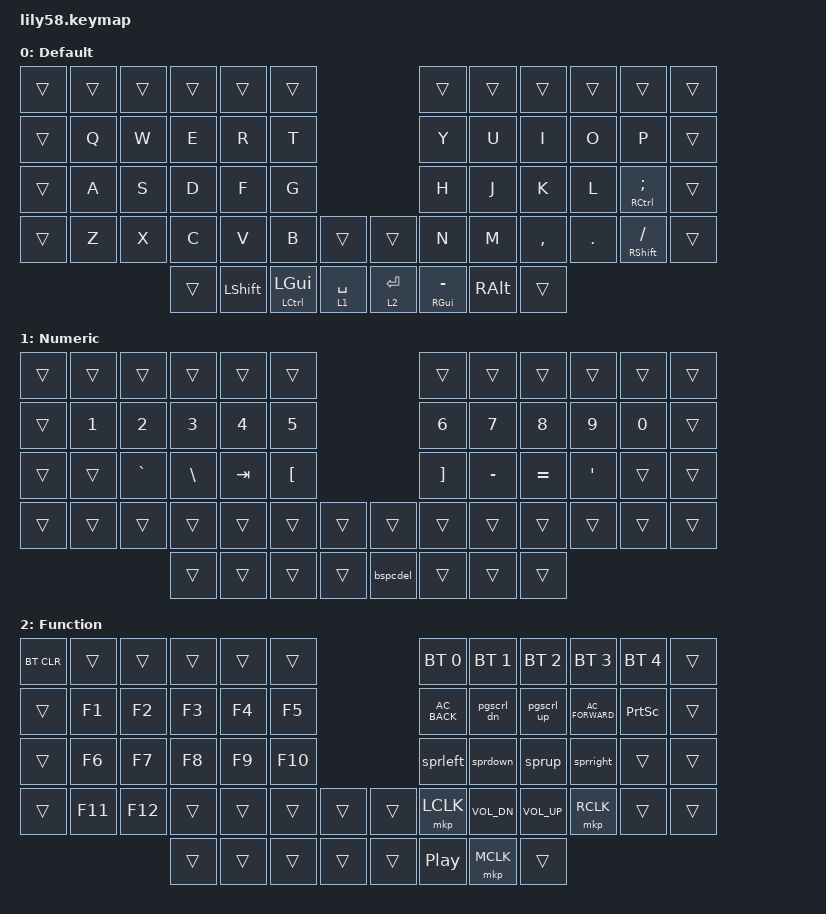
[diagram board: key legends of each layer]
/*
 * Copyright (c) 2020 The ZMK Contributors
 *
 * SPDX-License-Identifier: MIT
 */

#include <dt-bindings/zmk/mouse.h>

#define ZMK_POINTING_DEFAULT_MOVE_VAL 1500  // default: 600
#define ZMK_POINTING_DEFAULT_SCRL_VAL 20    // default: 10

#include <behaviors.dtsi>
#include <dt-bindings/zmk/bt.h>
#include <dt-bindings/zmk/keys.h>
#include <dt-bindings/zmk/pointing.h>

&mmv { time-to-max-speed-ms = <450>; };

&mt {
    flavor = "balanced";
    tapping-term-ms = <125>;
};

/ {
    combos {
        compatible = "zmk,combos";

        MUTE {
            bindings = <&kp C_MUTE>;
            key-positions = <46 45>;
            layers = <2>;
        };

        JK2GRESC {
            bindings = <&gresc>;
            key-positions = <31 32>;
        };

        COMBO_HOME {
            bindings = <&endhome>;
            key-positions = <19 20>;
            layers = <2>;
        };

        BT_SEL_0_ {
            bindings = <&bt BT_SEL 0>;
            key-positions = <13 48>;
            layers = <2>;
        };

        BT_SEL_1_ {
            bindings = <&bt BT_SEL 1>;
            key-positions = <48 14>;
            layers = <2>;
        };

        BT_SEL_2_ {
            bindings = <&bt BT_SEL 2>;
            key-positions = <48 15>;
            layers = <2>;
        };

        BT_SEL_3_ {
            bindings = <&bt BT_SEL 3>;
            key-positions = <48 16>;
            layers = <2>;
        };

        BT_SEL_4_ {
            bindings = <&bt BT_SEL 4>;
            key-positions = <48 17>;
            layers = <2>;
        };

        BT_CLR_ {
            bindings = <&bt BT_CLR>;
            key-positions = <48 31 32>;
            layers = <2>;
        };
    };

    behaviors {
        bspcdel: bspcdel {
            compatible = "zmk,behavior-mod-morph";
            label = "BSPCDEL";
            bindings = <&kp BACKSPACE>, <&kp DELETE>;

            #binding-cells = <0>;
            mods = <(MOD_LSFT|MOD_RSFT)>;
        };

        sprleft: sprleft {
            compatible = "zmk,behavior-mod-morph";
            label = "SPRLEFT";
            bindings = <&kp LEFT>, <&mmv MOVE_LEFT>;

            #binding-cells = <0>;
            mods = <(MOD_RCTL|MOD_LCTL)>;
        };

        sprdown: sprdown {
            compatible = "zmk,behavior-mod-morph";
            label = "SPRDOWN";
            bindings = <&kp DOWN>, <&mmv MOVE_DOWN>;

            #binding-cells = <0>;
            mods = <(MOD_LCTL|MOD_RCTL)>;
        };

        sprup: sprup {
            compatible = "zmk,behavior-mod-morph";
            label = "SPRUP";
            bindings = <&kp UP>, <&mmv MOVE_UP>;

            #binding-cells = <0>;
            mods = <(MOD_LCTL|MOD_RCTL)>;
        };

        sprright: sprright {
            compatible = "zmk,behavior-mod-morph";
            label = "SPRRIGHT";
            bindings = <&kp RIGHT>, <&mmv MOVE_RIGHT>;

            #binding-cells = <0>;
            mods = <(MOD_LCTL|MOD_RCTL)>;
        };

        endhome: endhome {
            compatible = "zmk,behavior-mod-morph";
            label = "ENDHOME";
            bindings = <&kp HOME>, <&kp END>;

            #binding-cells = <0>;
            mods = <(MOD_LSFT|MOD_RSFT)>;
        };

        pgscrl_dn: pgscrl_dn {
            compatible = "zmk,behavior-mod-morph";
            label = "PGSCRL_DN";
            bindings = <&msc SCRL_DOWN>, <&kp PAGE_DOWN>;

            #binding-cells = <0>;
            mods = <(MOD_LSFT|MOD_RSFT)>;
        };

        pgscrl_up: pgscrl_up {
            compatible = "zmk,behavior-mod-morph";
            label = "PGSCRL_UP";
            bindings = <&msc SCRL_UP>, <&kp PAGE_UP>;

            #binding-cells = <0>;
            mods = <(MOD_LSFT|MOD_RSFT)>;
        };
    };

    keymap {
        compatible = "zmk,keymap";

        default {
            // ------------------------------------------------------------------------------------------------------------
            // |  ESC  |  1  |  2  |  3   |  4   |  5   |                   |  6   |  7    |  8    |  9   |   0   |   `   |
            // |  TAB  |  Q  |  W  |  E   |  R   |  T   |                   |  Y   |  U    |  I    |  O   |   P   |   -   |
            // |  CTRL |  A  |  S  |  D   |  F   |  G   |                   |  H   |  J    |  K    |  L   |   ;   |   '   |
            // | SHIFT |  Z  |  X  |  C   |  V   |  B   |   "["  |  |  "]"  |  N   |  M    |  ,    |  .   |   /   | SHIFT |
            //                     | ALT  | GUI  | LOWER|  SPACE |  | ENTER | RAISE| BSPC  | GUI   |

            display-name = "Default";
            bindings = <
&trans  &trans  &trans  &trans  &trans          &trans                                                 &trans               &trans         &trans     &trans   &trans                       &trans
&trans  &kp Q   &kp W   &kp E   &kp R           &kp T                                                  &kp Y                &kp U          &kp I      &kp O    &kp P                        &trans
&trans  &kp A   &kp S   &kp D   &kp F           &kp G                                                  &kp H                &kp J          &kp K      &kp L    &mt RIGHT_CONTROL SEMICOLON  &trans
&trans  &kp Z   &kp X   &kp C   &kp V           &kp B                      &trans         &trans       &kp N                &kp M          &kp COMMA  &kp DOT  &mt RIGHT_SHIFT SLASH        &trans
                        &trans  &kp LEFT_SHIFT  &mt LEFT_CONTROL LEFT_GUI  &lt 1 SPACE    &lt 2 ENTER  &mt RIGHT_GUI MINUS  &kp RIGHT_ALT  &trans
            >;
        };

        numeric {
            // ------------------------------------------------------------------------------------------------------------
            // |       |     |     |      |      |      |                   |      |       |       |      |       |       |
            // |   `   |  1  |  2  |  3   |  4   |  5   |                   |  6   |   7   |   8   |  9   |   0   |       |
            // |   F1  |  F2 |  F3 |  F4  |  F5  |  F6  |                   |      |   <-  |   v   |  ^   |  ->   |       |
            // |   F7  |  F8 |  F9 |  F10 |  F11 |  F12 |        |  |       |  +   |   -   |   =   |  [   |   ]   |   \   |
            //                     |      |      |      |        |  |       |      |       |       |

            display-name = "Numeric";
            bindings = <
&trans  &trans  &trans     &trans         &trans   &trans                                &trans             &trans     &trans     &trans            &trans  &trans
&trans  &kp N1  &kp N2     &kp N3         &kp N4   &kp N5                                &kp N6             &kp N7     &kp N8     &kp N9            &kp N0  &trans
&trans  &trans  &kp GRAVE  &kp BACKSLASH  &kp TAB  &kp LEFT_BRACKET                      &kp RIGHT_BRACKET  &kp MINUS  &kp EQUAL  &kp SINGLE_QUOTE  &trans  &trans
&trans  &trans  &trans     &trans         &trans   &trans            &trans    &trans    &trans             &trans     &trans     &trans            &trans  &trans
                           &trans         &trans   &trans            &trans    &bspcdel  &trans             &trans     &trans
            >;
        };

        function {
            bindings = <
&bt BT_CLR  &trans   &trans   &trans  &trans  &trans                     &bt BT_SEL 0      &bt BT_SEL 1  &bt BT_SEL 2  &bt BT_SEL 3      &bt BT_SEL 4  &trans
&trans      &kp F1   &kp F2   &kp F3  &kp F4  &kp F5                     &kp C_AC_BACK     &pgscrl_dn    &pgscrl_up    &kp C_AC_FORWARD  &kp PSCRN     &trans
&trans      &kp F6   &kp F7   &kp F8  &kp F9  &kp F10                    &sprleft          &sprdown      &sprup        &sprright         &trans        &trans
&trans      &kp F11  &kp F12  &trans  &trans  &trans   &trans    &trans  &mkp LCLK         &kp C_VOL_DN  &kp C_VOL_UP  &mkp RCLK         &trans        &trans
                              &trans  &trans  &trans   &trans    &trans  &kp C_PLAY_PAUSE  &mkp MCLK     &trans
            >;

            label = "Function";
        };
    };
};
